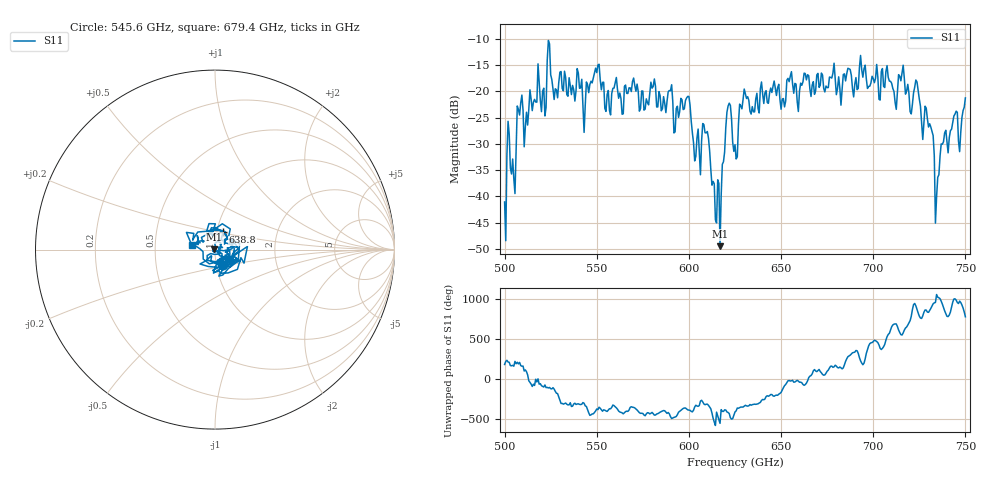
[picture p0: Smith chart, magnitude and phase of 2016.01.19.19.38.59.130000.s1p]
!Created with skrf (http://scikit-rf.org).
# GHz S RI R 50.0
!freq ReS11 ImS11
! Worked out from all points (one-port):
!   401 points, 500 GHz to 750 GHz, reference 50 ohm
!   lowest |S11| = -49.5 dB at 616.9 GHz (marker M1), VSWR 1.01, Z = 49.7 + j0.0922 ohm
!   |S11| at or under -10 dB: start of sweep to end of sweep
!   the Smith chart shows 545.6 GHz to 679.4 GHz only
!   S11 on the Smith chart (normalised r, x): 545.6 GHz: 1.07, -0.19; 638.8 GHz: 1.07, +0.21; 679.4 GHz: 0.77, +0.04
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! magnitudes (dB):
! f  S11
! 500 GHz  -41.1
! 502.5 GHz  -28.2
! 505 GHz  -36.7
! 508.1 GHz  -24.5
! 521.2 GHz  -19.4
! 524.4 GHz  -10.9
! 527.5 GHz  -19.5
! 531.2 GHz  -19.4
! 545.6 GHz  -20.2
! 562.5 GHz  -20.3
! 593.8 GHz  -22.8
! 599.4 GHz  -20.9
! 605 GHz  -27.2
! 608.8 GHz  -27.9
! 613.8 GHz  -37.6
! 616.9 GHz  -49.5
! 621.2 GHz  -22.8
! 625 GHz  -30.2
! 628.8 GHz  -23.3
! 638.8 GHz  -19.5
! 656.2 GHz  -18.6
! 679.4 GHz  -17.6
! 687.5 GHz  -15.8
! 718.8 GHz  -18.7
! 729.4 GHz  -25.2
! 734.4 GHz  -40.1
! 738.1 GHz  -29.6
! 750 GHz  -21.2
